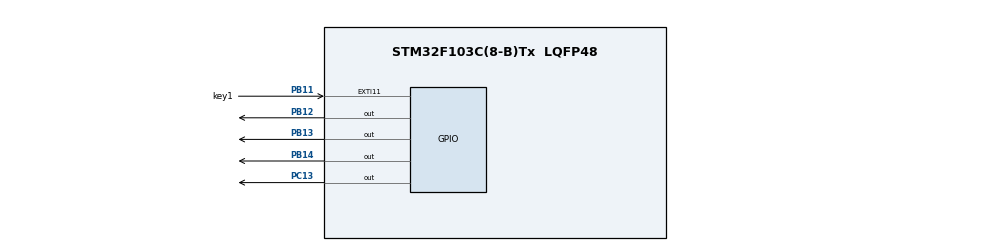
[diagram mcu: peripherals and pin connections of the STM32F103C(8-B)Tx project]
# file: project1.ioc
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Mcu.Family=STM32F1
Mcu.Name=STM32F103C(8-B)Tx
Mcu.Package=LQFP48
NVIC.EXTI15_10_IRQn=true\:0\:0\:false\:false\:true\:true\:true\:true
NVIC.PriorityGroup=NVIC_PRIORITYGROUP_4
NVIC.TIM1_UP_IRQn=true\:0\:0\:false\:false\:true\:true\:true\:true
PA13.Mode=Serial_Wire
PA13.Signal=SYS_JTMS-SWDIO
PA14.Mode=Serial_Wire
PA14.Signal=SYS_JTCK-SWCLK
PB11.GPIO_Label=key1
PB11.GPIO_ModeDefaultEXTI=GPIO_MODE_IT_RISING
PB11.GPIO_PuPd=GPIO_PULLDOWN
PB11.Signal=GPXTI11
PB12.GPIO_PuPd=GPIO_PULLUP
PB12.Signal=GPIO_Output
PB13.GPIO_PuPd=GPIO_PULLUP
PB13.Signal=GPIO_Output
PB14.GPIO_PuPd=GPIO_PULLUP
PB14.Signal=GPIO_Output
PC13-TAMPER-RTC.GPIO_ModeDefaultOutputPP=GPIO_MODE_OUTPUT_OD
PC13-TAMPER-RTC.GPIO_PuPd=GPIO_NOPULL
PC13-TAMPER-RTC.PinState=GPIO_PIN_SET
PC13-TAMPER-RTC.Signal=GPIO_Output
PD0-OSC_IN.Mode=HSE-External-Oscillator
PD0-OSC_IN.Signal=RCC_OSC_IN
PD1-OSC_OUT.Mode=HSE-External-Oscillator
PD1-OSC_OUT.Signal=RCC_OSC_OUT
ProjectManager.HeapSize=0x200
ProjectManager.StackSize=0x400
ProjectManager.TargetToolchain=MDK-ARM V5.32
RCC.APB1Freq_Value=8000000
RCC.APB2Freq_Value=8000000
RCC.PLLSourceVirtual=RCC_PLLSOURCE_HSE
RCC.USBFreq_Value=16000000
TIM1.AutoReloadPreload=TIM_AUTORELOAD_PRELOAD_ENABLE
TIM1.Period=499
TIM1.Prescaler=7999
VP_TIM1_VS_ClockSourceINT.Mode=Internal
board=custom

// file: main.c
/* USER CODE BEGIN Header */
/**
  ******************************************************************************
  * @file           : main.c
  * @brief          : Main program body
  ******************************************************************************
  * @attention
  *
  * Copyright (c) 2025 STMicroelectronics.
  * All rights reserved.
  *
  * This software is licensed under terms that can be found in the LICENSE file
  * in the root directory of this software component.
  * If no LICENSE file comes with this software, it is provided AS-IS.
  *
  ******************************************************************************
  */
/* USER CODE END Header */
#include "main.h"

TIM_HandleTypeDef htim1;

void SystemClock_Config(void);
static void MX_GPIO_Init(void);
static void MX_TIM1_Init(void);

/* USER CODE BEGIN 0 */
volatile uint16_t mode=0;
volatile uint16_t light=0;
void modify(int light){
	if(light==0){
		HAL_GPIO_WritePin(GPIOB,GPIO_PIN_12,GPIO_PIN_RESET);
		HAL_GPIO_WritePin(GPIOB,GPIO_PIN_13,GPIO_PIN_RESET);
		HAL_GPIO_WritePin(GPIOB,GPIO_PIN_14,GPIO_PIN_RESET);
	}
	else if(light==1){
		HAL_GPIO_WritePin(GPIOB,GPIO_PIN_12,GPIO_PIN_SET);
		HAL_GPIO_WritePin(GPIOB,GPIO_PIN_13,GPIO_PIN_RESET);
		HAL_GPIO_WritePin(GPIOB,GPIO_PIN_14,GPIO_PIN_RESET);
	}else if(light==2){
		HAL_GPIO_WritePin(GPIOB,GPIO_PIN_12,GPIO_PIN_RESET);
		HAL_GPIO_WritePin(GPIOB,GPIO_PIN_13,GPIO_PIN_SET);
		HAL_GPIO_WritePin(GPIOB,GPIO_PIN_14,GPIO_PIN_RESET);
	}else if(light==3){
		HAL_GPIO_WritePin(GPIOB,GPIO_PIN_12,GPIO_PIN_RESET);
		HAL_GPIO_WritePin(GPIOB,GPIO_PIN_13,GPIO_PIN_RESET);
		HAL_GPIO_WritePin(GPIOB,GPIO_PIN_14,GPIO_PIN_SET);
	}else{
		HAL_GPIO_WritePin(GPIOB,GPIO_PIN_12,GPIO_PIN_SET);
		HAL_GPIO_WritePin(GPIOB,GPIO_PIN_13,GPIO_PIN_SET);
		HAL_GPIO_WritePin(GPIOB,GPIO_PIN_14,GPIO_PIN_SET);
	}
}
void HAL_TIM_PeriodElapsedCallback(TIM_HandleTypeDef *htim){
		if(mode==1&&htim==&htim1){
			modify(light);
			light=(light+1)%5;
		}
}
void HAL_GPIO_EXTI_Callback(uint16_t GPIO_Pin){
	if(mode==0&&GPIO_Pin==key1_Pin){
		light=(light+1)%5;
		modify(light);
	}
}
/* USER CODE END 0 */

int main(void)
{

  /* MCU Configuration--------------------------------------------------------*/

  /* Reset of all peripherals, Initializes the Flash interface and the Systick. */
  HAL_Init();

  /* Configure the system clock */
  SystemClock_Config();

  /* Initialize all configured peripherals */
  MX_GPIO_Init();
  MX_TIM1_Init();

  /* Infinite loop */
  /* USER CODE BEGIN WHILE */
HAL_TIM_Base_Start_IT(&htim1);
while (1)
  {
		if(mode==2){
			modify(light);
		}
    /* USER CODE END WHILE */

  }
}

void SystemClock_Config(void)
{
  RCC_OscInitTypeDef RCC_OscInitStruct = {0};
  RCC_ClkInitTypeDef RCC_ClkInitStruct = {0};

  /** Initializes the RCC Oscillators according to the specified parameters
  * in the RCC_OscInitTypeDef structure.
  */
  RCC_OscInitStruct.OscillatorType = RCC_OSCILLATORTYPE_HSI;
  RCC_OscInitStruct.HSIState = RCC_HSI_ON;
  RCC_OscInitStruct.HSICalibrationValue = RCC_HSICALIBRATION_DEFAULT;
  RCC_OscInitStruct.PLL.PLLState = RCC_PLL_NONE;
  if (HAL_RCC_OscConfig(&RCC_OscInitStruct) != HAL_OK)
  {
    Error_Handler();
  }

  /** Initializes the CPU, AHB and APB buses clocks
  */
  RCC_ClkInitStruct.ClockType = RCC_CLOCKTYPE_HCLK|RCC_CLOCKTYPE_SYSCLK
                              |RCC_CLOCKTYPE_PCLK1|RCC_CLOCKTYPE_PCLK2;
  RCC_ClkInitStruct.SYSCLKSource = RCC_SYSCLKSOURCE_HSI;
  RCC_ClkInitStruct.AHBCLKDivider = RCC_SYSCLK_DIV1;
  RCC_ClkInitStruct.APB1CLKDivider = RCC_HCLK_DIV1;
  RCC_ClkInitStruct.APB2CLKDivider = RCC_HCLK_DIV1;

  if (HAL_RCC_ClockConfig(&RCC_ClkInitStruct, FLASH_LATENCY_0) != HAL_OK)
  {
    Error_Handler();
  }
}

static void MX_TIM1_Init(void)
{

  TIM_ClockConfigTypeDef sClockSourceConfig = {0};
  TIM_MasterConfigTypeDef sMasterConfig = {0};

  htim1.Instance = TIM1;
  htim1.Init.Prescaler = 7999;
  htim1.Init.CounterMode = TIM_COUNTERMODE_UP;
  htim1.Init.Period = 499;
  htim1.Init.ClockDivision = TIM_CLOCKDIVISION_DIV1;
  htim1.Init.RepetitionCounter = 0;
  htim1.Init.AutoReloadPreload = TIM_AUTORELOAD_PRELOAD_ENABLE;
  if (HAL_TIM_Base_Init(&htim1) != HAL_OK)
  {
    Error_Handler();
  }
  sClockSourceConfig.ClockSource = TIM_CLOCKSOURCE_INTERNAL;
  if (HAL_TIM_ConfigClockSource(&htim1, &sClockSourceConfig) != HAL_OK)
  {
    Error_Handler();
  }
  sMasterConfig.MasterOutputTrigger = TIM_TRGO_RESET;
  sMasterConfig.MasterSlaveMode = TIM_MASTERSLAVEMODE_DISABLE;
  if (HAL_TIMEx_MasterConfigSynchronization(&htim1, &sMasterConfig) != HAL_OK)
  {
    Error_Handler();
  }

}

static void MX_GPIO_Init(void)
{
  GPIO_InitTypeDef GPIO_InitStruct = {0};

  /* GPIO Ports Clock Enable */
  __HAL_RCC_GPIOC_CLK_ENABLE();
  __HAL_RCC_GPIOD_CLK_ENABLE();
  __HAL_RCC_GPIOB_CLK_ENABLE();
  __HAL_RCC_GPIOA_CLK_ENABLE();

  /*Configure GPIO pin Output Level */
  HAL_GPIO_WritePin(GPIOC, GPIO_PIN_13, GPIO_PIN_SET);

  /*Configure GPIO pin Output Level */
  HAL_GPIO_WritePin(GPIOB, GPIO_PIN_12|GPIO_PIN_13|GPIO_PIN_14, GPIO_PIN_RESET);

  /*Configure GPIO pin : PC13 */
  GPIO_InitStruct.Pin = GPIO_PIN_13;
  GPIO_InitStruct.Mode = GPIO_MODE_OUTPUT_OD;
  GPIO_InitStruct.Pull = GPIO_NOPULL;
  GPIO_InitStruct.Speed = GPIO_SPEED_FREQ_LOW;
  HAL_GPIO_Init(GPIOC, &GPIO_InitStruct);

  /*Configure GPIO pin : key1_Pin */
  GPIO_InitStruct.Pin = key1_Pin;
  GPIO_InitStruct.Mode = GPIO_MODE_IT_RISING;
  GPIO_InitStruct.Pull = GPIO_PULLDOWN;
  HAL_GPIO_Init(key1_GPIO_Port, &GPIO_InitStruct);

  /*Configure GPIO pins : PB12 PB13 PB14 */
  GPIO_InitStruct.Pin = GPIO_PIN_12|GPIO_PIN_13|GPIO_PIN_14;
  GPIO_InitStruct.Mode = GPIO_MODE_OUTPUT_PP;
  GPIO_InitStruct.Pull = GPIO_PULLUP;
  GPIO_InitStruct.Speed = GPIO_SPEED_FREQ_LOW;
  HAL_GPIO_Init(GPIOB, &GPIO_InitStruct);

  /* EXTI interrupt init*/
  HAL_NVIC_SetPriority(EXTI15_10_IRQn, 0, 0);
  HAL_NVIC_EnableIRQ(EXTI15_10_IRQn);

}

void Error_Handler(void)
{
  __disable_irq();
  while (1)
  {
  }
}
